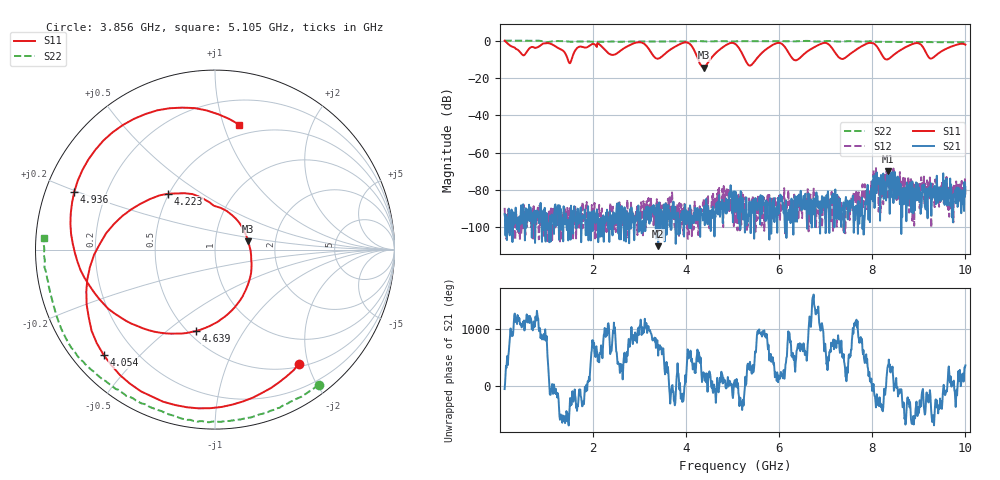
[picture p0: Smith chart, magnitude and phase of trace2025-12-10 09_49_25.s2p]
!url:https://github.com/lafefspietz/vna-control
!switchstate:o
!power:HIGH
!datetime:2025-12-10 09:49:25
!ifbw:100
! Created with skrf 1.9.0 (http://scikit-rf.org).
# Hz S RI R 50.0
!freq ReS11 ImS11 ReS21 ImS21 ReS12 ImS12 ReS22 ImS22
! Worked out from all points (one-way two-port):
!   1000 points, 100 MHz to 10 GHz, reference 50 ohm
!   highest |S21| = -69.95 dB at 8.345 GHz (marker M1); lowest = -110.0 dB at 3.4 GHz (marker M2)
!   lowest |S11| = -14.5 dB at 4.381 GHz (marker M3), VSWR 1.47, Z = 72.1 + j7 ohm
!   |S11| at or under -10 dB: 4.26 GHz to 4.521 GHz (261.1 MHz wide, 5.95 % of centre); 5.263 GHz to 5.506 GHz (242.3 MHz wide, 4.5 % of centre); 6.299 GHz to 6.409 GHz (109.9 MHz wide, 1.73 % of centre) (the widest 3 of 5)
!   |S22| runs from -1.0 to 0.0 dB; largest |S21 - S12| = 0.00058
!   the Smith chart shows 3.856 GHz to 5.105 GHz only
!   S11 on the Smith chart (normalised r, x): 3.856 GHz: 0.55, -1.85; 4.054 GHz: 0.09, -0.39; 4.223 GHz: 0.50, +0.37; 4.639 GHz: 0.55, -0.64; 4.936 GHz: 0.09, +0.20; 5.105 GHz: 0.40, +1.13
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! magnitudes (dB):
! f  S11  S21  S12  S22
! 100 MHz  -0.1  -92.9  -89.5  0.0
! 1.497 GHz  -12.1  -97.0  -89.7  -0.6
! 1.755 GHz  -3.3  -97.8  -94.5  -0.5
! 3.023 GHz  -1.0  -96.8  -87.3  -0.5
! 3.4 GHz  -9.7  -110.0  -94.4  -0.5
! 3.856 GHz  -2.0  -99.6  -86.9  -0.4
! 4.054 GHz  -1.4  -92.2  -89.1  -0.4
! 4.223 GHz  -7.8  -94.9  -97.8  -0.4
! 4.381 GHz  -14.5  -93.2  -84.3  -0.4
! 4.639 GHz  -6.6  -91.8  -85.8  -0.4
! 4.936 GHz  -1.4  -82.1  -91.2  -0.5
! 5.055 GHz  -1.8  -91.6  -89.4  -0.4
! 5.105 GHz  -3.0  -89.3  -101.6  -0.4
! 5.372 GHz  -13.4  -89.8  -92.3  -0.3
! 5.947 GHz  -1.4  -89.0  -90.8  -0.3
! 6.343 GHz  -10.6  -96.8  -93.3  -0.4
! 6.7 GHz  -4.3  -100.0  -90.4  -0.3
! 7.364 GHz  -9.9  -89.7  -90.5  -0.5
! 7.978 GHz  -1.3  -79.0  -75.5  -0.4
! 8.345 GHz  -9.9  -69.9  -85.1  -0.7
! 8.355 GHz  -9.8  -76.0  -77.7  -0.7
! 10 GHz  -2.2  -78.4  -82.4  -1.0
